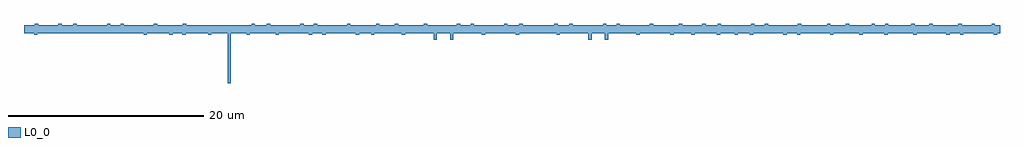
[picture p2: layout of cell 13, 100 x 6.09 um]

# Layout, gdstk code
import gdstk
lib = gdstk.Library(unit=1e-6, precision=1e-09)
def P(c, l, *ps):  # polygons
    for p in ps: c.add(gdstk.Polygon(p, *l))
L0_0 = (0, 0)

c_13 = lib.new_cell('13')
P(c_13, L0_0, [(953.04,905.92),(953.04,905.12),(952.38,905.12),(952.38,905.92),(953.04,905.92)],
  [(922.02,905.92),(922.02,905.12),(921.36,905.12),(921.36,905.92),(922.02,905.92)],
  [(900,905.92),(1000,905.92),(1000,905.12),(900,905.12),(900,905.92)],
  [(951.72,905.92),(951.72,905.12),(950.73,905.12),(950.73,904.945),(950.39,904.945),(950.39,905.12),(947.25,905.12),(947.25,904.945),(946.91,904.945),(946.91,905.12),(944,905.12),(944,904.44),(943.66,904.44),(943.66,905.12),(942.31,905.12),(942.31,904.44),(941.97,904.44),(941.97,905.12),(939.06,905.12),(939.06,904.945),(938.72,904.945),(938.72,905.12),(938.52,905.12),(938.52,905.92),(951.72,905.92)],
  [(919.38,905.12),(919.2,905.12),(919.2,904.945),(918.86,904.945),(918.86,905.12),(916.56,905.12),(916.56,904.945),(916.22,904.945),(916.22,905.12),(915.42,905.12),(915.42,905.92),(919.38,905.92),(919.38,905.12)],
  [(986.7,905.92),(987.36,905.92),(987.36,905.12),(986.7,905.12),(986.7,905.92)],
  [(921.36,905.92),(921.36,905.12),(920.04,905.12),(920.04,905.92),(921.36,905.92)],
  [(910.8,905.92),(911.46,905.92),(911.46,905.12),(910.8,905.12),(910.8,905.92)],
  [(971.52,905.12),(971.34,905.12),(971.34,904.945),(971,904.945),(971,905.12),(968.7,905.12),(968.7,904.945),(968.36,904.945),(968.36,905.12),(967.56,905.12),(967.56,905.92),(971.52,905.92),(971.52,905.12)],
  [(915.42,905.12),(915.24,905.12),(915.24,904.945),(914.9,904.945),(914.9,905.12),(912.6,905.12),(912.6,904.945),(912.26,904.945),(912.26,905.12),(911.46,905.12),(911.46,905.92),(915.42,905.92),(915.42,905.12)],
  [(937.2,905.92),(937.2,905.12),(935.91,905.12),(935.91,904.945),(935.57,904.945),(935.57,905.12),(934.355,905.12),(934.355,904.945),(934.015,904.945),(934.015,905.12),(930.915,905.12),(930.915,904.945),(930.575,904.945),(930.575,905.12),(929.515,905.12),(929.515,904.945),(929.175,904.945),(929.175,905.12),(926.12,905.12),(926.12,904.945),(925.78,904.945),(925.78,905.12),(923.14,905.12),(923.14,904.945),(922.8,904.945),(922.8,905.12),(922.02,905.12),(922.02,905.92),(937.2,905.92)],
  [(900,905.92),(901.56,905.92),(901.56,905.12),(901.38,905.12),(901.38,904.945),(901.04,904.945),(901.04,905.12),(900,905.12),(900,905.92)],
  [(1000,905.12),(991.98,905.12),(991.98,905.92),(992.76,905.92),(992.76,906.095),(993.1,906.095),(993.1,905.92),(995.74,905.92),(995.74,906.095),(996.08,906.095),(996.08,905.92),(999.135,905.92),(999.135,906.095),(999.475,906.095),(999.475,905.92),(1000,905.92),(1000,905.12)],
  [(901.56,905.92),(906.84,905.92),(906.84,905.12),(901.56,905.12),(901.56,905.92)],
  [(937.2,905.92),(938.52,905.92),(938.52,905.12),(937.2,905.12),(937.2,905.92)],
  [(983.4,905.12),(983.4,905.92),(984.2,905.92),(984.2,906.095),(984.54,906.095),(984.54,905.92),(986.84,905.92),(986.84,906.095),(987.18,906.095),(987.18,905.92),(987.36,905.92),(987.36,905.12),(983.4,905.12)],
  [(909.48,905.92),(910.8,905.92),(910.8,905.12),(909.48,905.12),(909.48,905.92)],
  [(900,905.92),(901.1,905.92),(901.1,906.095),(901.44,906.095),(901.44,905.92),(902.22,905.92),(902.22,905.12),(900,905.12),(900,905.92)],
  [(986.7,905.12),(985.92,905.12),(985.92,904.945),(985.58,904.945),(985.58,905.12),(982.94,905.12),(982.94,904.945),(982.6,904.945),(982.6,905.12),(979.545,905.12),(979.545,904.945),(979.205,904.945),(979.205,905.12),(978.145,905.12),(978.145,904.945),(977.805,904.945),(977.805,905.12),(974.705,905.12),(974.705,904.945),(974.365,904.945),(974.365,905.12),(973.15,905.12),(973.15,904.945),(972.81,904.945),(972.81,905.12),(971.52,905.12),(971.52,905.92),(986.7,905.92),(986.7,905.12)],
  [(967.56,905.92),(967.56,905.12),(966.57,905.12),(966.57,904.945),(966.23,904.945),(966.23,905.12),(963.09,905.12),(963.09,904.945),(962.75,904.945),(962.75,905.12),(959.84,905.12),(959.84,904.44),(959.5,904.44),(959.5,905.12),(958.15,905.12),(958.15,904.44),(957.81,904.44),(957.81,905.12),(954.9,905.12),(954.9,904.945),(954.56,904.945),(954.56,905.12),(954.36,905.12),(954.36,905.92),(967.56,905.92)],
  [(953.04,905.12),(953.04,905.92),(954.33,905.92),(954.33,906.095),(954.67,906.095),(954.67,905.92),(955.885,905.92),(955.885,906.095),(956.225,906.095),(956.225,905.92),(959.325,905.92),(959.325,906.095),(959.665,906.095),(959.665,905.92),(960.725,905.92),(960.725,906.095),(961.065,906.095),(961.065,905.92),(964.12,905.92),(964.12,906.095),(964.46,906.095),(964.46,905.92),(967.1,905.92),(967.1,906.095),(967.44,906.095),(967.44,905.92),(968.22,905.92),(968.22,905.12),(953.04,905.12)],
  [(920.04,905.92),(920.04,905.12),(917.4,905.12),(917.4,905.92),(920.04,905.92)],
  [(987.36,905.92),(988.22,905.92),(988.22,906.095),(988.56,906.095),(988.56,905.92),(990.9,905.92),(990.9,906.095),(991.24,906.095),(991.24,905.92),(991.98,905.92),(991.98,905.12),(987.36,905.12),(987.36,905.92)],
  [(937.2,905.92),(937.98,905.92),(937.98,906.095),(938.32,906.095),(938.32,905.92),(940.96,905.92),(940.96,906.095),(941.3,906.095),(941.3,905.92),(944.355,905.92),(944.355,906.095),(944.695,906.095),(944.695,905.92),(945.755,905.92),(945.755,906.095),(946.095,906.095),(946.095,905.92),(949.195,905.92),(949.195,906.095),(949.535,906.095),(949.535,905.92),(950.75,905.92),(950.75,906.095),(951.09,906.095),(951.09,905.92),(952.38,905.92),(952.38,905.12),(937.2,905.12),(937.2,905.92)],
  [(902.22,905.12),(902.22,905.92),(903.51,905.92),(903.51,906.095),(903.85,906.095),(903.85,905.92),(905.065,905.92),(905.065,906.095),(905.405,906.095),(905.405,905.92),(908.505,905.92),(908.505,906.095),(908.845,906.095),(908.845,905.92),(909.905,905.92),(909.905,906.095),(910.245,906.095),(910.245,905.92),(913.3,905.92),(913.3,906.095),(913.64,906.095),(913.64,905.92),(916.28,905.92),(916.28,906.095),(916.62,906.095),(916.62,905.92),(917.4,905.92),(917.4,905.12),(902.22,905.12)],
  [(968.22,905.12),(968.22,905.92),(969.51,905.92),(969.51,906.095),(969.85,906.095),(969.85,905.92),(971.065,905.92),(971.065,906.095),(971.405,906.095),(971.405,905.92),(974.505,905.92),(974.505,906.095),(974.845,906.095),(974.845,905.92),(975.905,905.92),(975.905,906.095),(976.245,906.095),(976.245,905.92),(979.3,905.92),(979.3,906.095),(979.64,906.095),(979.64,905.92),(982.28,905.92),(982.28,906.095),(982.62,906.095),(982.62,905.92),(983.4,905.92),(983.4,905.12),(968.22,905.12)],
  [(1000,905.12),(999.695,905.12),(999.695,904.945),(999.355,904.945),(999.355,905.12),(996.255,905.12),(996.255,904.945),(995.915,904.945),(995.915,905.12),(994.855,905.12),(994.855,904.945),(994.515,904.945),(994.515,905.12),(991.46,905.12),(991.46,904.945),(991.12,904.945),(991.12,905.12),(988.48,905.12),(988.48,904.945),(988.14,904.945),(988.14,905.12),(987.36,905.12),(987.36,905.92),(1000,905.92),(1000,905.12)],
  [(951.72,905.92),(954.36,905.92),(954.36,905.12),(951.72,905.12),(951.72,905.92)],
  [(919.38,905.92),(922.02,905.92),(922.02,905.12),(919.38,905.12),(919.38,905.92)],
  [(906.84,905.92),(909.48,905.92),(909.48,905.12),(906.84,905.12),(906.84,905.92)],
  [(922.02,905.12),(922.02,905.92),(923.31,905.92),(923.31,906.095),(923.65,906.095),(923.65,905.92),(924.865,905.92),(924.865,906.095),(925.205,906.095),(925.205,905.92),(928.305,905.92),(928.305,906.095),(928.645,906.095),(928.645,905.92),(929.705,905.92),(929.705,906.095),(930.045,906.095),(930.045,905.92),(933.1,905.92),(933.1,906.095),(933.44,906.095),(933.44,905.92),(936.08,905.92),(936.08,906.095),(936.42,906.095),(936.42,905.92),(937.2,905.92),(937.2,905.12),(922.02,905.12)],
  [(901.56,905.92),(906.84,905.92),(906.84,905.12),(901.56,905.12),(901.56,905.92)],
  [(921.36,905.92),(921.36,905.12),(920.04,905.12),(920.04,905.92),(921.36,905.92)],
  [(910.8,905.92),(911.46,905.92),(911.46,905.12),(910.8,905.12),(910.8,905.92)],
  [(922.02,905.92),(922.02,905.12),(921.36,905.12),(921.36,905.92),(922.02,905.92)],
  [(902.22,905.12),(902.22,905.92),(903.51,905.92),(903.51,906.095),(903.85,906.095),(903.85,905.92),(905.065,905.92),(905.065,906.095),(905.405,906.095),(905.405,905.92),(908.505,905.92),(908.505,906.095),(908.845,906.095),(908.845,905.92),(909.905,905.92),(909.905,906.095),(910.245,906.095),(910.245,905.92),(913.3,905.92),(913.3,906.095),(913.64,906.095),(913.64,905.92),(916.28,905.92),(916.28,906.095),(916.62,906.095),(916.62,905.92),(917.4,905.92),(917.4,905.12),(902.22,905.12)],
  [(909.48,905.92),(910.8,905.92),(910.8,905.12),(909.48,905.12),(909.48,905.92)],
  [(915.42,905.12),(915.24,905.12),(915.24,904.945),(914.9,904.945),(914.9,905.12),(912.6,905.12),(912.6,904.945),(912.26,904.945),(912.26,905.12),(911.46,905.12),(911.46,905.92),(915.42,905.92),(915.42,905.12)],
  [(900,905.92),(901.1,905.92),(901.1,906.095),(901.44,906.095),(901.44,905.92),(902.22,905.92),(902.22,905.12),(900,905.12),(900,905.92)],
  [(937.2,905.92),(937.2,905.12),(935.91,905.12),(935.91,904.945),(935.57,904.945),(935.57,905.12),(934.355,905.12),(934.355,904.945),(934.015,904.945),(934.015,905.12),(930.915,905.12),(930.915,904.945),(930.575,904.945),(930.575,905.12),(929.515,905.12),(929.515,904.945),(929.175,904.945),(929.175,905.12),(926.12,905.12),(926.12,904.945),(925.78,904.945),(925.78,905.12),(923.14,905.12),(923.14,904.945),(922.8,904.945),(922.8,905.12),(922.02,905.12),(922.02,905.92),(937.2,905.92)],
  [(900,905.92),(901.56,905.92),(901.56,905.12),(901.38,905.12),(901.38,904.945),(901.04,904.945),(901.04,905.12),(900,905.12),(900,905.92)],
  [(919.38,905.92),(922.02,905.92),(922.02,905.12),(919.38,905.12),(919.38,905.92)],
  [(906.84,905.92),(909.48,905.92),(909.48,905.12),(906.84,905.12),(906.84,905.92)],
  [(922.02,905.12),(922.02,905.92),(923.31,905.92),(923.31,906.095),(923.65,906.095),(923.65,905.92),(924.865,905.92),(924.865,906.095),(925.205,906.095),(925.205,905.92),(928.305,905.92),(928.305,906.095),(928.645,906.095),(928.645,905.92),(929.705,905.92),(929.705,906.095),(930.045,906.095),(930.045,905.92),(933.1,905.92),(933.1,906.095),(933.44,906.095),(933.44,905.92),(936.08,905.92),(936.08,906.095),(936.42,906.095),(936.42,905.92),(937.2,905.92),(937.2,905.12),(922.02,905.12)],
  [(919.38,905.12),(919.2,905.12),(919.2,904.945),(918.86,904.945),(918.86,905.12),(916.56,905.12),(916.56,904.945),(916.22,904.945),(916.22,905.12),(915.42,905.12),(915.42,905.92),(919.38,905.92),(919.38,905.12)],
  [(920.04,905.92),(920.04,905.12),(917.4,905.12),(917.4,905.92),(920.04,905.92)],
  [(901.56,905.92),(906.84,905.92),(906.84,905.12),(901.56,905.12),(901.56,905.92)],
  [(921.36,905.92),(921.36,905.12),(920.04,905.12),(920.04,905.92),(921.36,905.92)],
  [(910.8,905.92),(911.46,905.92),(911.46,905.12),(910.8,905.12),(910.8,905.92)],
  [(902.22,905.12),(902.22,905.92),(903.51,905.92),(903.51,906.095),(903.85,906.095),(903.85,905.92),(905.065,905.92),(905.065,906.095),(905.405,906.095),(905.405,905.92),(908.505,905.92),(908.505,906.095),(908.845,906.095),(908.845,905.92),(909.905,905.92),(909.905,906.095),(910.245,906.095),(910.245,905.92),(913.3,905.92),(913.3,906.095),(913.64,906.095),(913.64,905.92),(916.28,905.92),(916.28,906.095),(916.62,906.095),(916.62,905.92),(917.4,905.92),(917.4,905.12),(902.22,905.12)],
  [(909.48,905.92),(910.8,905.92),(910.8,905.12),(909.48,905.12),(909.48,905.92)],
  [(915.42,905.12),(915.24,905.12),(915.24,904.945),(914.9,904.945),(914.9,905.12),(912.6,905.12),(912.6,904.945),(912.26,904.945),(912.26,905.12),(911.46,905.12),(911.46,905.92),(915.42,905.92),(915.42,905.12)],
  [(900,905.92),(901.1,905.92),(901.1,906.095),(901.44,906.095),(901.44,905.92),(902.22,905.92),(902.22,905.12),(900,905.12),(900,905.92)],
  [(900,905.92),(901.56,905.92),(901.56,905.12),(901.38,905.12),(901.38,904.945),(901.04,904.945),(901.04,905.12),(900,905.12),(900,905.92)],
  [(919.38,905.92),(922.02,905.92),(922.02,905.12),(919.38,905.12),(919.38,905.92)],
  [(906.84,905.92),(909.48,905.92),(909.48,905.12),(906.84,905.12),(906.84,905.92)],
  [(920.04,905.92),(920.04,905.12),(917.4,905.12),(917.4,905.92),(920.04,905.92)],
  [(953.04,905.92),(953.04,905.12),(952.38,905.12),(952.38,905.92),(953.04,905.92)],
  [(937.2,905.92),(937.98,905.92),(937.98,906.095),(938.32,906.095),(938.32,905.92),(940.96,905.92),(940.96,906.095),(941.3,906.095),(941.3,905.92),(944.355,905.92),(944.355,906.095),(944.695,906.095),(944.695,905.92),(945.755,905.92),(945.755,906.095),(946.095,906.095),(946.095,905.92),(949.195,905.92),(949.195,906.095),(949.535,906.095),(949.535,905.92),(950.75,905.92),(950.75,906.095),(951.09,906.095),(951.09,905.92),(952.38,905.92),(952.38,905.12),(937.2,905.12),(937.2,905.92)],
  [(937.2,905.92),(938.52,905.92),(938.52,905.12),(937.2,905.12),(937.2,905.92)],
  [(951.72,905.92),(951.72,905.12),(950.73,905.12),(950.73,904.945),(950.39,904.945),(950.39,905.12),(947.25,905.12),(947.25,904.945),(946.91,904.945),(946.91,905.12),(944,905.12),(944,904.44),(943.66,904.44),(943.66,905.12),(942.31,905.12),(942.31,904.44),(941.97,904.44),(941.97,905.12),(939.06,905.12),(939.06,904.945),(938.72,904.945),(938.72,905.12),(938.52,905.12),(938.52,905.92),(951.72,905.92)],
  [(968.22,905.12),(968.22,905.92),(969.51,905.92),(969.51,906.095),(969.85,906.095),(969.85,905.92),(971.065,905.92),(971.065,906.095),(971.405,906.095),(971.405,905.92),(974.505,905.92),(974.505,906.095),(974.845,906.095),(974.845,905.92),(975.905,905.92),(975.905,906.095),(976.245,906.095),(976.245,905.92),(979.3,905.92),(979.3,906.095),(979.64,906.095),(979.64,905.92),(982.28,905.92),(982.28,906.095),(982.62,906.095),(982.62,905.92),(983.4,905.92),(983.4,905.12),(968.22,905.12)],
  [(951.72,905.92),(954.36,905.92),(954.36,905.12),(951.72,905.12),(951.72,905.92)],
  [(986.7,905.12),(985.92,905.12),(985.92,904.945),(985.58,904.945),(985.58,905.12),(982.94,905.12),(982.94,904.945),(982.6,904.945),(982.6,905.12),(979.545,905.12),(979.545,904.945),(979.205,904.945),(979.205,905.12),(978.145,905.12),(978.145,904.945),(977.805,904.945),(977.805,905.12),(974.705,905.12),(974.705,904.945),(974.365,904.945),(974.365,905.12),(973.15,905.12),(973.15,904.945),(972.81,904.945),(972.81,905.12),(971.52,905.12),(971.52,905.92),(986.7,905.92),(986.7,905.12)],
  [(967.56,905.92),(967.56,905.12),(966.57,905.12),(966.57,904.945),(966.23,904.945),(966.23,905.12),(963.09,905.12),(963.09,904.945),(962.75,904.945),(962.75,905.12),(959.84,905.12),(959.84,904.44),(959.5,904.44),(959.5,905.12),(958.15,905.12),(958.15,904.44),(957.81,904.44),(957.81,905.12),(954.9,905.12),(954.9,904.945),(954.56,904.945),(954.56,905.12),(954.36,905.12),(954.36,905.92),(967.56,905.92)],
  [(922.02,905.12),(922.02,905.92),(923.31,905.92),(923.31,906.095),(923.65,906.095),(923.65,905.92),(924.865,905.92),(924.865,906.095),(925.205,906.095),(925.205,905.92),(928.305,905.92),(928.305,906.095),(928.645,906.095),(928.645,905.92),(929.705,905.92),(929.705,906.095),(930.045,906.095),(930.045,905.92),(933.1,905.92),(933.1,906.095),(933.44,906.095),(933.44,905.92),(936.08,905.92),(936.08,906.095),(936.42,906.095),(936.42,905.92),(937.2,905.92),(937.2,905.12),(922.02,905.12)],
  [(953.04,905.12),(953.04,905.92),(954.33,905.92),(954.33,906.095),(954.67,906.095),(954.67,905.92),(955.885,905.92),(955.885,906.095),(956.225,906.095),(956.225,905.92),(959.325,905.92),(959.325,906.095),(959.665,906.095),(959.665,905.92),(960.725,905.92),(960.725,906.095),(961.065,906.095),(961.065,905.92),(964.12,905.92),(964.12,906.095),(964.46,906.095),(964.46,905.92),(967.1,905.92),(967.1,906.095),(967.44,906.095),(967.44,905.92),(968.22,905.92),(968.22,905.12),(953.04,905.12)],
  [(953.04,905.92),(953.04,905.12),(952.38,905.12),(952.38,905.92),(953.04,905.92)],
  [(937.2,905.92),(937.98,905.92),(937.98,906.095),(938.32,906.095),(938.32,905.92),(940.96,905.92),(940.96,906.095),(941.3,906.095),(941.3,905.92),(944.355,905.92),(944.355,906.095),(944.695,906.095),(944.695,905.92),(945.755,905.92),(945.755,906.095),(946.095,906.095),(946.095,905.92),(949.195,905.92),(949.195,906.095),(949.535,906.095),(949.535,905.92),(950.75,905.92),(950.75,906.095),(951.09,906.095),(951.09,905.92),(952.38,905.92),(952.38,905.12),(937.2,905.12),(937.2,905.92)],
  [(951.72,905.92),(951.72,905.12),(950.73,905.12),(950.73,904.945),(950.39,904.945),(950.39,905.12),(947.25,905.12),(947.25,904.945),(946.91,904.945),(946.91,905.12),(944,905.12),(944,904.44),(943.66,904.44),(943.66,905.12),(942.31,905.12),(942.31,904.44),(941.97,904.44),(941.97,905.12),(939.06,905.12),(939.06,904.945),(938.72,904.945),(938.72,905.12),(938.52,905.12),(938.52,905.92),(951.72,905.92)],
  [(937.2,905.92),(938.52,905.92),(938.52,905.12),(937.2,905.12),(937.2,905.92)],
  [(968.22,905.12),(968.22,905.92),(969.51,905.92),(969.51,906.095),(969.85,906.095),(969.85,905.92),(971.065,905.92),(971.065,906.095),(971.405,906.095),(971.405,905.92),(974.505,905.92),(974.505,906.095),(974.845,906.095),(974.845,905.92),(975.905,905.92),(975.905,906.095),(976.245,906.095),(976.245,905.92),(979.3,905.92),(979.3,906.095),(979.64,906.095),(979.64,905.92),(982.28,905.92),(982.28,906.095),(982.62,906.095),(982.62,905.92),(983.4,905.92),(983.4,905.12),(968.22,905.12)],
  [(937.2,905.92),(937.2,905.12),(935.91,905.12),(935.91,904.945),(935.57,904.945),(935.57,905.12),(934.355,905.12),(934.355,904.945),(934.015,904.945),(934.015,905.12),(930.915,905.12),(930.915,904.945),(930.575,904.945),(930.575,905.12),(929.515,905.12),(929.515,904.945),(929.175,904.945),(929.175,905.12),(926.12,905.12),(926.12,904.945),(925.78,904.945),(925.78,905.12),(923.14,905.12),(923.14,904.945),(922.8,904.945),(922.8,905.12),(922.02,905.12),(922.02,905.92),(937.2,905.92)],
  [(951.72,905.92),(954.36,905.92),(954.36,905.12),(951.72,905.12),(951.72,905.92)],
  [(922.02,905.12),(922.02,905.92),(923.31,905.92),(923.31,906.095),(923.65,906.095),(923.65,905.92),(924.865,905.92),(924.865,906.095),(925.205,906.095),(925.205,905.92),(928.305,905.92),(928.305,906.095),(928.645,906.095),(928.645,905.92),(929.705,905.92),(929.705,906.095),(930.045,906.095),(930.045,905.92),(933.1,905.92),(933.1,906.095),(933.44,906.095),(933.44,905.92),(936.08,905.92),(936.08,906.095),(936.42,906.095),(936.42,905.92),(937.2,905.92),(937.2,905.12),(922.02,905.12)],
  [(953.04,905.12),(953.04,905.92),(954.33,905.92),(954.33,906.095),(954.67,906.095),(954.67,905.92),(955.885,905.92),(955.885,906.095),(956.225,906.095),(956.225,905.92),(959.325,905.92),(959.325,906.095),(959.665,906.095),(959.665,905.92),(960.725,905.92),(960.725,906.095),(961.065,906.095),(961.065,905.92),(964.12,905.92),(964.12,906.095),(964.46,906.095),(964.46,905.92),(967.1,905.92),(967.1,906.095),(967.44,906.095),(967.44,905.92),(968.22,905.92),(968.22,905.12),(953.04,905.12)],
  [(901.56,905.92),(906.84,905.92),(906.84,905.12),(901.56,905.12),(901.56,905.92)],
  [(921.36,905.92),(921.36,905.12),(920.04,905.12),(920.04,905.92),(921.36,905.92)],
  [(910.8,905.92),(911.46,905.92),(911.46,905.12),(910.8,905.12),(910.8,905.92)],
  [(902.22,905.12),(902.22,905.92),(903.51,905.92),(903.51,906.095),(903.85,906.095),(903.85,905.92),(905.065,905.92),(905.065,906.095),(905.405,906.095),(905.405,905.92),(908.505,905.92),(908.505,906.095),(908.845,906.095),(908.845,905.92),(909.905,905.92),(909.905,906.095),(910.245,906.095),(910.245,905.92),(913.3,905.92),(913.3,906.095),(913.64,906.095),(913.64,905.92),(916.28,905.92),(916.28,906.095),(916.62,906.095),(916.62,905.92),(917.4,905.92),(917.4,905.12),(902.22,905.12)],
  [(909.48,905.92),(910.8,905.92),(910.8,905.12),(909.48,905.12),(909.48,905.92)],
  [(900,905.92),(901.1,905.92),(901.1,906.095),(901.44,906.095),(901.44,905.92),(902.22,905.92),(902.22,905.12),(900,905.12),(900,905.92)],
  [(919.38,905.92),(922.02,905.92),(922.02,905.12),(919.38,905.12),(919.38,905.92)],
  [(906.84,905.92),(909.48,905.92),(909.48,905.12),(906.84,905.12),(906.84,905.92)],
  [(920.04,905.92),(920.04,905.12),(917.4,905.12),(917.4,905.92),(920.04,905.92)],
  [(921.36,905.92),(921.36,905.12),(920.04,905.12),(920.04,905.92),(921.36,905.92)],
  [(910.8,905.92),(911.46,905.92),(911.46,905.12),(910.8,905.12),(910.8,905.92)],
  [(922.02,905.92),(922.02,905.12),(921.36,905.12),(921.36,905.92),(922.02,905.92)],
  [(902.22,905.12),(902.22,905.92),(903.51,905.92),(903.51,906.095),(903.85,906.095),(903.85,905.92),(905.065,905.92),(905.065,906.095),(905.405,906.095),(905.405,905.92),(908.505,905.92),(908.505,906.095),(908.845,906.095),(908.845,905.92),(909.905,905.92),(909.905,906.095),(910.245,906.095),(910.245,905.92),(913.3,905.92),(913.3,906.095),(913.64,906.095),(913.64,905.92),(916.28,905.92),(916.28,906.095),(916.62,906.095),(916.62,905.92),(917.4,905.92),(917.4,905.12),(902.22,905.12)],
  [(909.48,905.92),(910.8,905.92),(910.8,905.12),(909.48,905.12),(909.48,905.92)],
  [(937.2,905.92),(937.2,905.12),(935.91,905.12),(935.91,904.945),(935.57,904.945),(935.57,905.12),(934.355,905.12),(934.355,904.945),(934.015,904.945),(934.015,905.12),(930.915,905.12),(930.915,904.945),(930.575,904.945),(930.575,905.12),(929.515,905.12),(929.515,904.945),(929.175,904.945),(929.175,905.12),(926.12,905.12),(926.12,904.945),(925.78,904.945),(925.78,905.12),(923.14,905.12),(923.14,904.945),(922.8,904.945),(922.8,905.12),(922.02,905.12),(922.02,905.92),(937.2,905.92)],
  [(919.38,905.92),(922.02,905.92),(922.02,905.12),(919.38,905.12),(919.38,905.92)],
  [(906.84,905.92),(909.48,905.92),(909.48,905.12),(906.84,905.12),(906.84,905.92)],
  [(922.02,905.12),(922.02,905.92),(923.31,905.92),(923.31,906.095),(923.65,906.095),(923.65,905.92),(924.865,905.92),(924.865,906.095),(925.205,906.095),(925.205,905.92),(928.305,905.92),(928.305,906.095),(928.645,906.095),(928.645,905.92),(929.705,905.92),(929.705,906.095),(930.045,906.095),(930.045,905.92),(933.1,905.92),(933.1,906.095),(933.44,906.095),(933.44,905.92),(936.08,905.92),(936.08,906.095),(936.42,906.095),(936.42,905.92),(937.2,905.92),(937.2,905.12),(922.02,905.12)],
  [(920.04,905.92),(920.04,905.12),(917.4,905.12),(917.4,905.92),(920.04,905.92)],
  [(953.04,905.92),(953.04,905.12),(952.38,905.12),(952.38,905.92),(953.04,905.92)],
  [(937.2,905.92),(937.98,905.92),(937.98,906.095),(938.32,906.095),(938.32,905.92),(940.96,905.92),(940.96,906.095),(941.3,906.095),(941.3,905.92),(944.355,905.92),(944.355,906.095),(944.695,906.095),(944.695,905.92),(945.755,905.92),(945.755,906.095),(946.095,906.095),(946.095,905.92),(949.195,905.92),(949.195,906.095),(949.535,906.095),(949.535,905.92),(950.75,905.92),(950.75,906.095),(951.09,906.095),(951.09,905.92),(952.38,905.92),(952.38,905.12),(937.2,905.12),(937.2,905.92)],
  [(937.2,905.92),(938.52,905.92),(938.52,905.12),(937.2,905.12),(937.2,905.92)],
  [(937.2,905.92),(937.2,905.12),(935.91,905.12),(935.91,904.945),(935.57,904.945),(935.57,905.12),(934.355,905.12),(934.355,904.945),(934.015,904.945),(934.015,905.12),(930.915,905.12),(930.915,904.945),(930.575,904.945),(930.575,905.12),(929.515,905.12),(929.515,904.945),(929.175,904.945),(929.175,905.12),(926.12,905.12),(926.12,904.945),(925.78,904.945),(925.78,905.12),(923.14,905.12),(923.14,904.945),(922.8,904.945),(922.8,905.12),(922.02,905.12),(922.02,905.92),(937.2,905.92)],
  [(951.72,905.92),(954.36,905.92),(954.36,905.12),(951.72,905.12),(951.72,905.92)],
  [(986.7,905.12),(985.92,905.12),(985.92,904.945),(985.58,904.945),(985.58,905.12),(982.94,905.12),(982.94,904.945),(982.6,904.945),(982.6,905.12),(979.545,905.12),(979.545,904.945),(979.205,904.945),(979.205,905.12),(978.145,905.12),(978.145,904.945),(977.805,904.945),(977.805,905.12),(974.705,905.12),(974.705,904.945),(974.365,904.945),(974.365,905.12),(973.15,905.12),(973.15,904.945),(972.81,904.945),(972.81,905.12),(971.52,905.12),(971.52,905.92),(986.7,905.92),(986.7,905.12)],
  [(922.02,905.12),(922.02,905.92),(923.31,905.92),(923.31,906.095),(923.65,906.095),(923.65,905.92),(924.865,905.92),(924.865,906.095),(925.205,906.095),(925.205,905.92),(928.305,905.92),(928.305,906.095),(928.645,906.095),(928.645,905.92),(929.705,905.92),(929.705,906.095),(930.045,906.095),(930.045,905.92),(933.1,905.92),(933.1,906.095),(933.44,906.095),(933.44,905.92),(936.08,905.92),(936.08,906.095),(936.42,906.095),(936.42,905.92),(937.2,905.92),(937.2,905.12),(922.02,905.12)],
  [(953.04,905.12),(953.04,905.92),(954.33,905.92),(954.33,906.095),(954.67,906.095),(954.67,905.92),(955.885,905.92),(955.885,906.095),(956.225,906.095),(956.225,905.92),(959.325,905.92),(959.325,906.095),(959.665,906.095),(959.665,905.92),(960.725,905.92),(960.725,906.095),(961.065,906.095),(961.065,905.92),(964.12,905.92),(964.12,906.095),(964.46,906.095),(964.46,905.92),(967.1,905.92),(967.1,906.095),(967.44,906.095),(967.44,905.92),(968.22,905.92),(968.22,905.12),(953.04,905.12)],
  [(921.36,905.92),(921.36,905.12),(920.04,905.12),(920.04,905.92),(921.36,905.92)],
  [(922.02,905.92),(922.02,905.12),(921.36,905.12),(921.36,905.92),(922.02,905.92)],
  [(937.2,905.92),(937.98,905.92),(937.98,906.095),(938.32,906.095),(938.32,905.92),(940.96,905.92),(940.96,906.095),(941.3,906.095),(941.3,905.92),(944.355,905.92),(944.355,906.095),(944.695,906.095),(944.695,905.92),(945.755,905.92),(945.755,906.095),(946.095,906.095),(946.095,905.92),(949.195,905.92),(949.195,906.095),(949.535,906.095),(949.535,905.92),(950.75,905.92),(950.75,906.095),(951.09,906.095),(951.09,905.92),(952.38,905.92),(952.38,905.12),(937.2,905.12),(937.2,905.92)],
  [(937.2,905.92),(938.52,905.92),(938.52,905.12),(937.2,905.12),(937.2,905.92)],
  [(937.2,905.92),(937.2,905.12),(935.91,905.12),(935.91,904.945),(935.57,904.945),(935.57,905.12),(934.355,905.12),(934.355,904.945),(934.015,904.945),(934.015,905.12),(930.915,905.12),(930.915,904.945),(930.575,904.945),(930.575,905.12),(929.515,905.12),(929.515,904.945),(929.175,904.945),(929.175,905.12),(926.12,905.12),(926.12,904.945),(925.78,904.945),(925.78,905.12),(923.14,905.12),(923.14,904.945),(922.8,904.945),(922.8,905.12),(922.02,905.12),(922.02,905.92),(937.2,905.92)],
  [(919.38,905.92),(922.02,905.92),(922.02,905.12),(919.38,905.12),(919.38,905.92)],
  [(922.02,905.12),(922.02,905.92),(923.31,905.92),(923.31,906.095),(923.65,906.095),(923.65,905.92),(924.865,905.92),(924.865,906.095),(925.205,906.095),(925.205,905.92),(928.305,905.92),(928.305,906.095),(928.645,906.095),(928.645,905.92),(929.705,905.92),(929.705,906.095),(930.045,906.095),(930.045,905.92),(933.1,905.92),(933.1,906.095),(933.44,906.095),(933.44,905.92),(936.08,905.92),(936.08,906.095),(936.42,906.095),(936.42,905.92),(937.2,905.92),(937.2,905.12),(922.02,905.12)],
  [(922.02,905.92),(922.02,905.12),(921.36,905.12),(921.36,905.92),(922.02,905.92)],
  [(922.02,905.12),(922.02,905.92),(923.31,905.92),(923.31,906.095),(923.65,906.095),(923.65,905.92),(924.865,905.92),(924.865,906.095),(925.205,906.095),(925.205,905.92),(928.305,905.92),(928.305,906.095),(928.645,906.095),(928.645,905.92),(929.705,905.92),(929.705,906.095),(930.045,906.095),(930.045,905.92),(933.1,905.92),(933.1,906.095),(933.44,906.095),(933.44,905.92),(936.08,905.92),(936.08,906.095),(936.42,906.095),(936.42,905.92),(937.2,905.92),(937.2,905.12),(922.02,905.12)],
  [(921.36,905.92),(921.36,905.12),(920.04,905.12),(920.04,905.92),(921.36,905.92)],
  [(953.04,905.92),(953.04,905.12),(952.38,905.12),(952.38,905.92),(953.04,905.92)],
  [(922.02,905.92),(922.02,905.12),(921.36,905.12),(921.36,905.92),(922.02,905.92)],
  [(937.2,905.92),(937.98,905.92),(937.98,906.095),(938.32,906.095),(938.32,905.92),(940.96,905.92),(940.96,906.095),(941.3,906.095),(941.3,905.92),(944.355,905.92),(944.355,906.095),(944.695,906.095),(944.695,905.92),(945.755,905.92),(945.755,906.095),(946.095,906.095),(946.095,905.92),(949.195,905.92),(949.195,906.095),(949.535,906.095),(949.535,905.92),(950.75,905.92),(950.75,906.095),(951.09,906.095),(951.09,905.92),(952.38,905.92),(952.38,905.12),(937.2,905.12),(937.2,905.92)],
  [(937.2,905.92),(938.52,905.92),(938.52,905.12),(937.2,905.12),(937.2,905.92)],
  [(937.2,905.92),(937.2,905.12),(935.91,905.12),(935.91,904.945),(935.57,904.945),(935.57,905.12),(934.355,905.12),(934.355,904.945),(934.015,904.945),(934.015,905.12),(930.915,905.12),(930.915,904.945),(930.575,904.945),(930.575,905.12),(929.515,905.12),(929.515,904.945),(929.175,904.945),(929.175,905.12),(926.12,905.12),(926.12,904.945),(925.78,904.945),(925.78,905.12),(923.14,905.12),(923.14,904.945),(922.8,904.945),(922.8,905.12),(922.02,905.12),(922.02,905.92),(937.2,905.92)],
  [(922.02,905.12),(922.02,905.92),(923.31,905.92),(923.31,906.095),(923.65,906.095),(923.65,905.92),(924.865,905.92),(924.865,906.095),(925.205,906.095),(925.205,905.92),(928.305,905.92),(928.305,906.095),(928.645,906.095),(928.645,905.92),(929.705,905.92),(929.705,906.095),(930.045,906.095),(930.045,905.92),(933.1,905.92),(933.1,906.095),(933.44,906.095),(933.44,905.92),(936.08,905.92),(936.08,906.095),(936.42,906.095),(936.42,905.92),(937.2,905.92),(937.2,905.12),(922.02,905.12)],
  [(937.2,905.92),(937.98,905.92),(937.98,906.095),(938.32,906.095),(938.32,905.92),(940.96,905.92),(940.96,906.095),(941.3,906.095),(941.3,905.92),(944.355,905.92),(944.355,906.095),(944.695,906.095),(944.695,905.92),(945.755,905.92),(945.755,906.095),(946.095,906.095),(946.095,905.92),(949.195,905.92),(949.195,906.095),(949.535,906.095),(949.535,905.92),(950.75,905.92),(950.75,906.095),(951.09,906.095),(951.09,905.92),(952.38,905.92),(952.38,905.12),(937.2,905.12),(937.2,905.92)],
  [(937.2,905.92),(937.2,905.12),(935.91,905.12),(935.91,904.945),(935.57,904.945),(935.57,905.12),(934.355,905.12),(934.355,904.945),(934.015,904.945),(934.015,905.12),(930.915,905.12),(930.915,904.945),(930.575,904.945),(930.575,905.12),(929.515,905.12),(929.515,904.945),(929.175,904.945),(929.175,905.12),(926.12,905.12),(926.12,904.945),(925.78,904.945),(925.78,905.12),(923.14,905.12),(923.14,904.945),(922.8,904.945),(922.8,905.12),(922.02,905.12),(922.02,905.92),(937.2,905.92)],
  [(953.04,905.92),(953.04,905.12),(952.38,905.12),(952.38,905.92),(953.04,905.92)],
  [(922.02,905.92),(922.02,905.12),(921.36,905.12),(921.36,905.92),(922.02,905.92)],
  [(937.2,905.92),(937.98,905.92),(937.98,906.095),(938.32,906.095),(938.32,905.92),(940.96,905.92),(940.96,906.095),(941.3,906.095),(941.3,905.92),(944.355,905.92),(944.355,906.095),(944.695,906.095),(944.695,905.92),(945.755,905.92),(945.755,906.095),(946.095,906.095),(946.095,905.92),(949.195,905.92),(949.195,906.095),(949.535,906.095),(949.535,905.92),(950.75,905.92),(950.75,906.095),(951.09,906.095),(951.09,905.92),(952.38,905.92),(952.38,905.12),(937.2,905.12),(937.2,905.92)],
  [(937.2,905.92),(937.2,905.12),(935.91,905.12),(935.91,904.945),(935.57,904.945),(935.57,905.12),(934.355,905.12),(934.355,904.945),(934.015,904.945),(934.015,905.12),(930.915,905.12),(930.915,904.945),(930.575,904.945),(930.575,905.12),(929.515,905.12),(929.515,904.945),(929.175,904.945),(929.175,905.12),(926.12,905.12),(926.12,904.945),(925.78,904.945),(925.78,905.12),(923.14,905.12),(923.14,904.945),(922.8,904.945),(922.8,905.12),(922.02,905.12),(922.02,905.92),(937.2,905.92)],
  [(937.2,905.92),(937.98,905.92),(937.98,906.095),(938.32,906.095),(938.32,905.92),(940.96,905.92),(940.96,906.095),(941.3,906.095),(941.3,905.92),(944.355,905.92),(944.355,906.095),(944.695,906.095),(944.695,905.92),(945.755,905.92),(945.755,906.095),(946.095,906.095),(946.095,905.92),(949.195,905.92),(949.195,906.095),(949.535,906.095),(949.535,905.92),(950.75,905.92),(950.75,906.095),(951.09,906.095),(951.09,905.92),(952.38,905.92),(952.38,905.12),(937.2,905.12),(937.2,905.92)],
  [(922.02,905.12),(922.02,905.92),(923.31,905.92),(923.31,906.095),(923.65,906.095),(923.65,905.92),(924.865,905.92),(924.865,906.095),(925.205,906.095),(925.205,905.92),(928.305,905.92),(928.305,906.095),(928.645,906.095),(928.645,905.92),(929.705,905.92),(929.705,906.095),(930.045,906.095),(930.045,905.92),(933.1,905.92),(933.1,906.095),(933.44,906.095),(933.44,905.92),(936.08,905.92),(936.08,906.095),(936.42,906.095),(936.42,905.92),(937.2,905.92),(937.2,905.12),(922.02,905.12)],
  [(937.2,905.92),(937.2,905.12),(935.91,905.12),(935.91,904.945),(935.57,904.945),(935.57,905.12),(934.355,905.12),(934.355,904.945),(934.015,904.945),(934.015,905.12),(930.915,905.12),(930.915,904.945),(930.575,904.945),(930.575,905.12),(929.515,905.12),(929.515,904.945),(929.175,904.945),(929.175,905.12),(926.12,905.12),(926.12,904.945),(925.78,904.945),(925.78,905.12),(923.14,905.12),(923.14,904.945),(922.8,904.945),(922.8,905.12),(922.02,905.12),(922.02,905.92),(937.2,905.92)],
  [(920.84,905.38),(921.22,905.38),(921.22,905.1),(920.84,905.1),(920.84,905.38)],
  [(920.89,900),(920.89,905.38),(921.17,905.38),(921.17,900),(920.89,900)],
  [(900,905.94),(931.73,905.94),(931.73,905.66),(900,905.66),(900,905.94)],
  [(931.4,905.94),(931.78,905.94),(931.78,905.66),(931.4,905.66),(931.4,905.94)],
  [(920.84,905.38),(921.22,905.38),(921.22,905.1),(920.84,905.1),(920.84,905.38)],
  [(928.76,905.38),(929.14,905.38),(929.14,905.1),(928.76,905.1),(928.76,905.38)],
  [(1000,905.1),(928.81,905.1),(928.81,905.38),(1000,905.38),(1000,905.1)],
  [(920.89,905.38),(929.09,905.38),(929.09,905.1),(920.89,905.1),(920.89,905.38)],
  [(920.84,905.38),(921.22,905.38),(921.22,905.1),(920.84,905.1),(920.84,905.38)],
  [(928.76,905.38),(929.14,905.38),(929.14,905.1),(928.76,905.1),(928.76,905.38)],
  [(920.89,905.38),(929.09,905.38),(929.09,905.1),(920.89,905.1),(920.89,905.38)],
  [(931.4,905.94),(931.78,905.94),(931.78,905.66),(931.4,905.66),(931.4,905.94)],
  [(931.45,905.1),(931.45,905.94),(931.73,905.94),(931.73,905.1),(931.45,905.1)])

lib.write_gds('13.gds')
